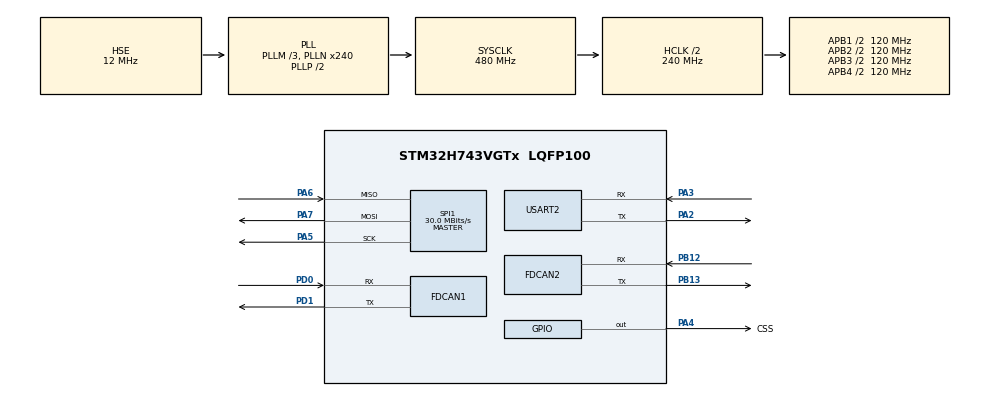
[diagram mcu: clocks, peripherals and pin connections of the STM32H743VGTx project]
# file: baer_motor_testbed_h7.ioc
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FDCAN1.DataPrescaler=8
FDCAN1.DataTimeSeg1=12
FDCAN1.DataTimeSeg2=2
FDCAN1.NominalPrescaler=8
FDCAN1.NominalTimeSeg1=12
FDCAN1.RxFifo0ElmtsNbr=2
FDCAN1.TxFifoQueueElmtsNbr=2
FDCAN2.DataPrescaler=8
FDCAN2.DataTimeSeg1=12
FDCAN2.DataTimeSeg2=2
FDCAN2.MessageRAMOffset=1024
FDCAN2.NominalPrescaler=8
FDCAN2.NominalTimeSeg1=12
FDCAN2.RxFifo0ElmtsNbr=2
FDCAN2.TxFifoQueueElmtsNbr=2
Mcu.Family=STM32H7
Mcu.Name=STM32H743VGTx
Mcu.Package=LQFP100
NVIC.PriorityGroup=NVIC_PRIORITYGROUP_4
NVIC.TIM5_IRQn=true\:0\:0\:false\:false\:true\:true\:true
PA2.Mode=Asynchronous
PA2.Signal=USART2_TX
PA3.Mode=Asynchronous
PA3.Signal=USART2_RX
PA4.GPIO_Label=CSS
PA4.Signal=GPIO_Output
PA5.Mode=Full_Duplex_Master
PA5.Signal=SPI1_SCK
PA6.Mode=Full_Duplex_Master
PA6.Signal=SPI1_MISO
PA7.Mode=Full_Duplex_Master
PA7.Signal=SPI1_MOSI
PB12.Mode=FDCAN_Activate
PB12.Signal=FDCAN2_RX
PB13.Mode=FDCAN_Activate
PB13.Signal=FDCAN2_TX
PD0.Mode=FDCAN_Activate
PD0.Signal=FDCAN1_RX
PD1.Mode=FDCAN_Activate
PD1.Signal=FDCAN1_TX
PH0-OSC_IN\ (PH0).Mode=HSE-External-Oscillator
PH0-OSC_IN\ (PH0).Signal=RCC_OSC_IN
PH1-OSC_OUT\ (PH1).Mode=HSE-External-Oscillator
PH1-OSC_OUT\ (PH1).Signal=RCC_OSC_OUT
ProjectManager.HeapSize=0x200
ProjectManager.StackSize=0x400
ProjectManager.TargetToolchain=STM32CubeIDE
RCC.ADCFreq_Value=24187500
RCC.APB1Freq_Value=120000000
RCC.APB2Freq_Value=120000000
RCC.APB3Freq_Value=120000000
RCC.APB4Freq_Value=120000000
RCC.CortexFreq_Value=480000000
RCC.D1PPRE=RCC_APB3_DIV2
RCC.D2PPRE1=RCC_APB1_DIV2
RCC.D2PPRE2=RCC_APB2_DIV2
RCC.D3PPRE=RCC_APB4_DIV2
RCC.DIVM1=3
RCC.DIVN1=240
RCC.DIVQ1=8
RCC.HCLKFreq_Value=240000000
RCC.HPRE=RCC_HCLK_DIV2
RCC.HSE_VALUE=12000000
RCC.PLLSourceVirtual=RCC_PLLSOURCE_HSE
RCC.SYSCLKFreq_VALUE=480000000
RCC.SYSCLKSource=RCC_SYSCLKSOURCE_PLLCLK
RCC.USBFreq_Value=120000000
SPI1.BaudRatePrescaler=SPI_BAUDRATEPRESCALER_4
SPI1.CLKPhase=SPI_PHASE_2EDGE
SPI1.CLKPolarity=SPI_POLARITY_HIGH
SPI1.CalculateBaudRate=30.0 MBits/s
SPI1.DataSize=SPI_DATASIZE_8BIT
SPI1.Direction=SPI_DIRECTION_2LINES
SPI1.Mode=SPI_MODE_MASTER
SPI1.VirtualType=VM_MASTER
TIM2.Prescaler=239
TIM4.Prescaler=239
TIM5.Period=999
TIM5.Prescaler=239
USART2.VirtualMode-Asynchronous=VM_ASYNC
VP_TIM2_VS_ClockSourceINT.Mode=Internal
VP_TIM4_VS_ClockSourceINT.Mode=Internal
VP_TIM5_VS_ClockSourceINT.Mode=Internal
board=custom

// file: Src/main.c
/* USER CODE BEGIN Header */
/**
  ******************************************************************************
  * @file           : main.c
  * @brief          : Main program body
  ******************************************************************************
  * @attention
  *
  * Copyright (c) 2022 STMicroelectronics.
  * All rights reserved.
  *
  * This software is licensed under terms that can be found in the LICENSE file
  * in the root directory of this software component.
  * If no LICENSE file comes with this software, it is provided AS-IS.
  *
  ******************************************************************************
  */
/* USER CODE END Header */
#include "main.h"

/* USER CODE BEGIN Includes */
#include "../lan9252/lan9252.h"

/* USER CODE END Includes */

/* USER CODE BEGIN PD */
PROCBUFFER_OUT 	BufferOut;
PROCBUFFER_IN 	BufferIn;
/* USER CODE END PD */

FDCAN_HandleTypeDef hfdcan1;
FDCAN_HandleTypeDef hfdcan2;

SPI_HandleTypeDef hspi1;

TIM_HandleTypeDef htim2;
TIM_HandleTypeDef htim4;
TIM_HandleTypeDef htim5;

UART_HandleTypeDef huart2;

/* USER CODE BEGIN PV */
spiCTX ethercat_slave;

// for time
/* USER CODE END PV */

void SystemClock_Config(void);
static void MX_GPIO_Init(void);
static void MX_FDCAN1_Init(void);
static void MX_FDCAN2_Init(void);
static void MX_SPI1_Init(void);
static void MX_TIM2_Init(void);
static void MX_TIM4_Init(void);
static void MX_TIM5_Init(void);
static void MX_USART2_UART_Init(void);
/* USER CODE BEGIN PFP */

void delay_us(uint16_t us)
{
	__HAL_TIM_SET_COUNTER(&htim4, 0);
	while (__HAL_TIM_GET_COUNTER(&htim4) < us);
}

// load which work in velocity mode
FDCAN_TxHeaderTypeDef amber_joint_tx;
FDCAN_RxHeaderTypeDef amber_joint_rx;
uint8_t amber_joint_data[8];
uint8_t amber_joint_rx_data[8];

double load_position_;
double load_velocity_;
double load_current_;

uint32_t load_status_;

void load_power_up(FDCAN_TxHeaderTypeDef* joint_tx, uint8_t* data_buffer)
{
	joint_tx->DataLength = FDCAN_DLC_BYTES_2;
	data_buffer[0] = 0x20;
	data_buffer[1] = 0x01;
}

void load_velocity_mode(FDCAN_TxHeaderTypeDef* joint_tx, uint8_t* data_buffer)
{

	joint_tx->DataLength = FDCAN_DLC_BYTES_2;
	data_buffer[0] = 0x20;
	data_buffer[1] = 0x03;
}

void load_power_off(FDCAN_TxHeaderTypeDef* joint_tx, uint8_t* data_buffer)
{
	joint_tx->DataLength = FDCAN_DLC_BYTES_2;
	data_buffer[0] = 0x20;
	data_buffer[1] = 0x00;
}

union Byte2 {
	int16_t d_data;
	uint8_t buffer[2];
};

void load_pack_velocity_msg(FDCAN_TxHeaderTypeDef* joint_tx, uint8_t* data_buffer, double speed)
{
	joint_tx->DataLength = FDCAN_DLC_BYTES_3;
	data_buffer[0] = 0x41;
	union Byte2 byte_2;

	double velocity_des = speed * 57.2958;

	byte_2.d_data = (int16_t)velocity_des;

	data_buffer[1] = byte_2.buffer[1];
	data_buffer[2] = byte_2.buffer[0];
}

void load_unpack_msg(FDCAN_RxHeaderTypeDef* joint_rx, uint8_t* data_buffer)
{
	int id = joint_rx->Identifier - 0x40;

	if (id == 1)
	{
		int16_t p_int = (data_buffer[1] << 8) | data_buffer[2];
		int16_t v_int = (data_buffer[3] << 8) |  data_buffer[4];
		int16_t i_int =  (data_buffer[5] << 8) |  data_buffer[6];

		load_position_ = (p_int / 128.0f) / 57.2958f;
		load_velocity_ = (v_int * 1.0f) / 57.2958f;
		load_current_ = i_int / 256.0f;

		load_status_ = (data_buffer[7] << 8) | data_buffer[0];
	}

}

/* USER CODE END PFP */

int main(void)
{

  /* MCU Configuration--------------------------------------------------------*/

  /* Reset of all peripherals, Initializes the Flash interface and the Systick. */
  HAL_Init();

  /* Configure the system clock */
  SystemClock_Config();

  /* Initialize all configured peripherals */
  MX_GPIO_Init();
  MX_FDCAN1_Init();
  MX_FDCAN2_Init();
  MX_SPI1_Init();
  MX_TIM2_Init();
  MX_TIM4_Init();
  MX_TIM5_Init();
  MX_USART2_UART_Init();
  /* USER CODE BEGIN 2 */

	HAL_FDCAN_Start(&hfdcan1);
	HAL_FDCAN_Start(&hfdcan2);
	HAL_Delay(10);

	HAL_TIM_Base_Start(&htim2);

	HAL_TIM_Base_Start(&htim4);

	HAL_Delay(10);
	// 1. init lan9252
	ethercat_slave.spi = &hspi1;
	ethercat_slave.uart = &huart2;
	ethercat_slave.bIn = &BufferIn;
	ethercat_slave.bOut = &BufferOut;
	HAL_Delay(10);
	init9252(&ethercat_slave);
	HAL_Delay(10);

	HAL_TIM_Base_Start_IT(&htim5);

	// 2. init load motor var
	amber_joint_tx.Identifier = 0x11;
	amber_joint_tx.IdType = FDCAN_STANDARD_ID;
	amber_joint_tx.TxFrameType = FDCAN_DATA_FRAME;
	amber_joint_tx.DataLength = FDCAN_DLC_BYTES_8;
	amber_joint_tx.ErrorStateIndicator = FDCAN_ESI_ACTIVE;
	amber_joint_tx.BitRateSwitch = FDCAN_BRS_OFF;
	amber_joint_tx.FDFormat = FDCAN_CLASSIC_CAN;
	amber_joint_tx.TxEventFifoControl = FDCAN_NO_TX_EVENTS;
	amber_joint_tx.MessageMarker = 0;

  /* USER CODE END 2 */

  /* Infinite loop */
  while (1)
  {

    /* USER CODE BEGIN 3 */
	  if (HAL_FDCAN_GetRxMessage(&hfdcan2, FDCAN_RX_FIFO0, &amber_joint_rx, amber_joint_rx_data) == HAL_OK)
	  {
		  load_unpack_msg(&amber_joint_rx, amber_joint_rx_data);
	  }
	  delay_us(10);
  }
  /* USER CODE END 3 */
}

void SystemClock_Config(void)
{
  RCC_OscInitTypeDef RCC_OscInitStruct = {0};
  RCC_ClkInitTypeDef RCC_ClkInitStruct = {0};

  /** Supply configuration update enable
  */
  HAL_PWREx_ConfigSupply(PWR_LDO_SUPPLY);
  /** Configure the main internal regulator output voltage
  */
  __HAL_PWR_VOLTAGESCALING_CONFIG(PWR_REGULATOR_VOLTAGE_SCALE0);

  while(!__HAL_PWR_GET_FLAG(PWR_FLAG_VOSRDY)) {}
  /** Initializes the RCC Oscillators according to the specified parameters
  * in the RCC_OscInitTypeDef structure.
  */
  RCC_OscInitStruct.OscillatorType = RCC_OSCILLATORTYPE_HSE;
  RCC_OscInitStruct.HSEState = RCC_HSE_ON;
  RCC_OscInitStruct.PLL.PLLState = RCC_PLL_ON;
  RCC_OscInitStruct.PLL.PLLSource = RCC_PLLSOURCE_HSE;
  RCC_OscInitStruct.PLL.PLLM = 3;
  RCC_OscInitStruct.PLL.PLLN = 240;
  RCC_OscInitStruct.PLL.PLLP = 2;
  RCC_OscInitStruct.PLL.PLLQ = 8;
  RCC_OscInitStruct.PLL.PLLR = 2;
  RCC_OscInitStruct.PLL.PLLRGE = RCC_PLL1VCIRANGE_2;
  RCC_OscInitStruct.PLL.PLLVCOSEL = RCC_PLL1VCOWIDE;
  RCC_OscInitStruct.PLL.PLLFRACN = 0;
  if (HAL_RCC_OscConfig(&RCC_OscInitStruct) != HAL_OK)
  {
    Error_Handler();
  }
  /** Initializes the CPU, AHB and APB buses clocks
  */
  RCC_ClkInitStruct.ClockType = RCC_CLOCKTYPE_HCLK|RCC_CLOCKTYPE_SYSCLK
                              |RCC_CLOCKTYPE_PCLK1|RCC_CLOCKTYPE_PCLK2
                              |RCC_CLOCKTYPE_D3PCLK1|RCC_CLOCKTYPE_D1PCLK1;
  RCC_ClkInitStruct.SYSCLKSource = RCC_SYSCLKSOURCE_PLLCLK;
  RCC_ClkInitStruct.SYSCLKDivider = RCC_SYSCLK_DIV1;
  RCC_ClkInitStruct.AHBCLKDivider = RCC_HCLK_DIV2;
  RCC_ClkInitStruct.APB3CLKDivider = RCC_APB3_DIV2;
  RCC_ClkInitStruct.APB1CLKDivider = RCC_APB1_DIV2;
  RCC_ClkInitStruct.APB2CLKDivider = RCC_APB2_DIV2;
  RCC_ClkInitStruct.APB4CLKDivider = RCC_APB4_DIV2;

  if (HAL_RCC_ClockConfig(&RCC_ClkInitStruct, FLASH_LATENCY_4) != HAL_OK)
  {
    Error_Handler();
  }
}

static void MX_FDCAN1_Init(void)
{

  hfdcan1.Instance = FDCAN1;
  hfdcan1.Init.FrameFormat = FDCAN_FRAME_CLASSIC;
  hfdcan1.Init.Mode = FDCAN_MODE_NORMAL;
  hfdcan1.Init.AutoRetransmission = DISABLE;
  hfdcan1.Init.TransmitPause = DISABLE;
  hfdcan1.Init.ProtocolException = DISABLE;
  hfdcan1.Init.NominalPrescaler = 8;
  hfdcan1.Init.NominalSyncJumpWidth = 1;
  hfdcan1.Init.NominalTimeSeg1 = 12;
  hfdcan1.Init.NominalTimeSeg2 = 2;
  hfdcan1.Init.DataPrescaler = 8;
  hfdcan1.Init.DataSyncJumpWidth = 1;
  hfdcan1.Init.DataTimeSeg1 = 12;
  hfdcan1.Init.DataTimeSeg2 = 2;
  hfdcan1.Init.MessageRAMOffset = 0;
  hfdcan1.Init.StdFiltersNbr = 0;
  hfdcan1.Init.ExtFiltersNbr = 0;
  hfdcan1.Init.RxFifo0ElmtsNbr = 2;
  hfdcan1.Init.RxFifo0ElmtSize = FDCAN_DATA_BYTES_8;
  hfdcan1.Init.RxFifo1ElmtsNbr = 0;
  hfdcan1.Init.RxFifo1ElmtSize = FDCAN_DATA_BYTES_8;
  hfdcan1.Init.RxBuffersNbr = 0;
  hfdcan1.Init.RxBufferSize = FDCAN_DATA_BYTES_8;
  hfdcan1.Init.TxEventsNbr = 0;
  hfdcan1.Init.TxBuffersNbr = 0;
  hfdcan1.Init.TxFifoQueueElmtsNbr = 2;
  hfdcan1.Init.TxFifoQueueMode = FDCAN_TX_FIFO_OPERATION;
  hfdcan1.Init.TxElmtSize = FDCAN_DATA_BYTES_8;
  if (HAL_FDCAN_Init(&hfdcan1) != HAL_OK)
  {
    Error_Handler();
  }

}

static void MX_FDCAN2_Init(void)
{

  hfdcan2.Instance = FDCAN2;
  hfdcan2.Init.FrameFormat = FDCAN_FRAME_CLASSIC;
  hfdcan2.Init.Mode = FDCAN_MODE_NORMAL;
  hfdcan2.Init.AutoRetransmission = DISABLE;
  hfdcan2.Init.TransmitPause = DISABLE;
  hfdcan2.Init.ProtocolException = DISABLE;
  hfdcan2.Init.NominalPrescaler = 8;
  hfdcan2.Init.NominalSyncJumpWidth = 1;
  hfdcan2.Init.NominalTimeSeg1 = 12;
  hfdcan2.Init.NominalTimeSeg2 = 2;
  hfdcan2.Init.DataPrescaler = 8;
  hfdcan2.Init.DataSyncJumpWidth = 1;
  hfdcan2.Init.DataTimeSeg1 = 12;
  hfdcan2.Init.DataTimeSeg2 = 2;
  hfdcan2.Init.MessageRAMOffset = 1024;
  hfdcan2.Init.StdFiltersNbr = 0;
  hfdcan2.Init.ExtFiltersNbr = 0;
  hfdcan2.Init.RxFifo0ElmtsNbr = 2;
  hfdcan2.Init.RxFifo0ElmtSize = FDCAN_DATA_BYTES_8;
  hfdcan2.Init.RxFifo1ElmtsNbr = 0;
  hfdcan2.Init.RxFifo1ElmtSize = FDCAN_DATA_BYTES_8;
  hfdcan2.Init.RxBuffersNbr = 0;
  hfdcan2.Init.RxBufferSize = FDCAN_DATA_BYTES_8;
  hfdcan2.Init.TxEventsNbr = 0;
  hfdcan2.Init.TxBuffersNbr = 0;
  hfdcan2.Init.TxFifoQueueElmtsNbr = 2;
  hfdcan2.Init.TxFifoQueueMode = FDCAN_TX_FIFO_OPERATION;
  hfdcan2.Init.TxElmtSize = FDCAN_DATA_BYTES_8;
  if (HAL_FDCAN_Init(&hfdcan2) != HAL_OK)
  {
    Error_Handler();
  }

}

static void MX_SPI1_Init(void)
{

  /* SPI1 parameter configuration*/
  hspi1.Instance = SPI1;
  hspi1.Init.Mode = SPI_MODE_MASTER;
  hspi1.Init.Direction = SPI_DIRECTION_2LINES;
  hspi1.Init.DataSize = SPI_DATASIZE_8BIT;
  hspi1.Init.CLKPolarity = SPI_POLARITY_HIGH;
  hspi1.Init.CLKPhase = SPI_PHASE_2EDGE;
  hspi1.Init.NSS = SPI_NSS_SOFT;
  hspi1.Init.BaudRatePrescaler = SPI_BAUDRATEPRESCALER_4;
  hspi1.Init.FirstBit = SPI_FIRSTBIT_MSB;
  hspi1.Init.TIMode = SPI_TIMODE_DISABLE;
  hspi1.Init.CRCCalculation = SPI_CRCCALCULATION_DISABLE;
  hspi1.Init.CRCPolynomial = 0x0;
  hspi1.Init.NSSPMode = SPI_NSS_PULSE_ENABLE;
  hspi1.Init.NSSPolarity = SPI_NSS_POLARITY_LOW;
  hspi1.Init.FifoThreshold = SPI_FIFO_THRESHOLD_01DATA;
  hspi1.Init.TxCRCInitializationPattern = SPI_CRC_INITIALIZATION_ALL_ZERO_PATTERN;
  hspi1.Init.RxCRCInitializationPattern = SPI_CRC_INITIALIZATION_ALL_ZERO_PATTERN;
  hspi1.Init.MasterSSIdleness = SPI_MASTER_SS_IDLENESS_00CYCLE;
  hspi1.Init.MasterInterDataIdleness = SPI_MASTER_INTERDATA_IDLENESS_00CYCLE;
  hspi1.Init.MasterReceiverAutoSusp = SPI_MASTER_RX_AUTOSUSP_DISABLE;
  hspi1.Init.MasterKeepIOState = SPI_MASTER_KEEP_IO_STATE_DISABLE;
  hspi1.Init.IOSwap = SPI_IO_SWAP_DISABLE;
  if (HAL_SPI_Init(&hspi1) != HAL_OK)
  {
    Error_Handler();
  }

}

static void MX_TIM2_Init(void)
{

  TIM_ClockConfigTypeDef sClockSourceConfig = {0};
  TIM_MasterConfigTypeDef sMasterConfig = {0};

  htim2.Instance = TIM2;
  htim2.Init.Prescaler = 239;
  htim2.Init.CounterMode = TIM_COUNTERMODE_UP;
  htim2.Init.Period = 4294967295;
  htim2.Init.ClockDivision = TIM_CLOCKDIVISION_DIV1;
  htim2.Init.AutoReloadPreload = TIM_AUTORELOAD_PRELOAD_DISABLE;
  if (HAL_TIM_Base_Init(&htim2) != HAL_OK)
  {
    Error_Handler();
  }
  sClockSourceConfig.ClockSource = TIM_CLOCKSOURCE_INTERNAL;
  if (HAL_TIM_ConfigClockSource(&htim2, &sClockSourceConfig) != HAL_OK)
  {
    Error_Handler();
  }
  sMasterConfig.MasterOutputTrigger = TIM_TRGO_RESET;
  sMasterConfig.MasterSlaveMode = TIM_MASTERSLAVEMODE_DISABLE;
  if (HAL_TIMEx_MasterConfigSynchronization(&htim2, &sMasterConfig) != HAL_OK)
  {
    Error_Handler();
  }

}

static void MX_TIM4_Init(void)
{

  TIM_ClockConfigTypeDef sClockSourceConfig = {0};
  TIM_MasterConfigTypeDef sMasterConfig = {0};

  htim4.Instance = TIM4;
  htim4.Init.Prescaler = 239;
  htim4.Init.CounterMode = TIM_COUNTERMODE_UP;
  htim4.Init.Period = 65535;
  htim4.Init.ClockDivision = TIM_CLOCKDIVISION_DIV1;
  htim4.Init.AutoReloadPreload = TIM_AUTORELOAD_PRELOAD_DISABLE;
  if (HAL_TIM_Base_Init(&htim4) != HAL_OK)
  {
    Error_Handler();
  }
  sClockSourceConfig.ClockSource = TIM_CLOCKSOURCE_INTERNAL;
  if (HAL_TIM_ConfigClockSource(&htim4, &sClockSourceConfig) != HAL_OK)
  {
    Error_Handler();
  }
  sMasterConfig.MasterOutputTrigger = TIM_TRGO_RESET;
  sMasterConfig.MasterSlaveMode = TIM_MASTERSLAVEMODE_DISABLE;
  if (HAL_TIMEx_MasterConfigSynchronization(&htim4, &sMasterConfig) != HAL_OK)
  {
    Error_Handler();
  }

}

static void MX_TIM5_Init(void)
{

  TIM_ClockConfigTypeDef sClockSourceConfig = {0};
  TIM_MasterConfigTypeDef sMasterConfig = {0};

  htim5.Instance = TIM5;
  htim5.Init.Prescaler = 239;
  htim5.Init.CounterMode = TIM_COUNTERMODE_UP;
  htim5.Init.Period = 999;
  htim5.Init.ClockDivision = TIM_CLOCKDIVISION_DIV1;
  htim5.Init.AutoReloadPreload = TIM_AUTORELOAD_PRELOAD_DISABLE;
  if (HAL_TIM_Base_Init(&htim5) != HAL_OK)
  {
    Error_Handler();
  }
  sClockSourceConfig.ClockSource = TIM_CLOCKSOURCE_INTERNAL;
  if (HAL_TIM_ConfigClockSource(&htim5, &sClockSourceConfig) != HAL_OK)
  {
    Error_Handler();
  }
  sMasterConfig.MasterOutputTrigger = TIM_TRGO_RESET;
  sMasterConfig.MasterSlaveMode = TIM_MASTERSLAVEMODE_DISABLE;
  if (HAL_TIMEx_MasterConfigSynchronization(&htim5, &sMasterConfig) != HAL_OK)
  {
    Error_Handler();
  }

}

static void MX_USART2_UART_Init(void)
{

  huart2.Instance = USART2;
  huart2.Init.BaudRate = 115200;
  huart2.Init.WordLength = UART_WORDLENGTH_8B;
  huart2.Init.StopBits = UART_STOPBITS_1;
  huart2.Init.Parity = UART_PARITY_NONE;
  huart2.Init.Mode = UART_MODE_TX_RX;
  huart2.Init.HwFlowCtl = UART_HWCONTROL_NONE;
  huart2.Init.OverSampling = UART_OVERSAMPLING_16;
  huart2.Init.OneBitSampling = UART_ONE_BIT_SAMPLE_DISABLE;
  huart2.Init.ClockPrescaler = UART_PRESCALER_DIV1;
  huart2.AdvancedInit.AdvFeatureInit = UART_ADVFEATURE_NO_INIT;
  if (HAL_UART_Init(&huart2) != HAL_OK)
  {
    Error_Handler();
  }
  if (HAL_UARTEx_SetTxFifoThreshold(&huart2, UART_TXFIFO_THRESHOLD_1_8) != HAL_OK)
  {
    Error_Handler();
  }
  if (HAL_UARTEx_SetRxFifoThreshold(&huart2, UART_RXFIFO_THRESHOLD_1_8) != HAL_OK)
  {
    Error_Handler();
  }
  if (HAL_UARTEx_DisableFifoMode(&huart2) != HAL_OK)
  {
    Error_Handler();
  }

}

static void MX_GPIO_Init(void)
{
  GPIO_InitTypeDef GPIO_InitStruct = {0};

  /* GPIO Ports Clock Enable */
  __HAL_RCC_GPIOH_CLK_ENABLE();
  __HAL_RCC_GPIOA_CLK_ENABLE();
  __HAL_RCC_GPIOB_CLK_ENABLE();
  __HAL_RCC_GPIOD_CLK_ENABLE();

  /*Configure GPIO pin Output Level */
  HAL_GPIO_WritePin(CSS_GPIO_Port, CSS_Pin, GPIO_PIN_RESET);

  /*Configure GPIO pin : CSS_Pin */
  GPIO_InitStruct.Pin = CSS_Pin;
  GPIO_InitStruct.Mode = GPIO_MODE_OUTPUT_PP;
  GPIO_InitStruct.Pull = GPIO_NOPULL;
  GPIO_InitStruct.Speed = GPIO_SPEED_FREQ_LOW;
  HAL_GPIO_Init(CSS_GPIO_Port, &GPIO_InitStruct);

}

/* USER CODE BEGIN 4 */
uint64_t hs_ = 0;
uint32_t can1_error_counter = 0;
uint32_t can2_error_counter = 0;

uint32_t control_word;

int is_load_enable = 0;
int is_motor_enable = 0;

int load_init_state = 0;

int motor_init_state = 0;

void control()
{
	int is_init = 0;
	if ((control_word & 2) == 1 && is_load_enable == 0)
	{
		can2_error_counter = 0;
		load_power_up(&amber_joint_tx, amber_joint_data);
		if (HAL_FDCAN_AddMessageToTxFifoQ(&hfdcan2, &amber_joint_tx, amber_joint_data) != HAL_OK)
		{
			can2_error_counter += 1;
		}
		is_load_enable = 1;
		load_init_state = 1;
		is_init = 1;
	}

	if ((control_word & 1) == 1 && is_motor_enable == 0)
	{
		can1_error_counter = 0;
		/*load_power_up(&amber_joint_tx, amber_joint_data);
		if (HAL_FDCAN_AddMessageToTxFifoQ(&hfdcan2, &amber_joint_tx, amber_joint_data) != HAL_OK)
		{
			can2_error_counter += 1;
		}*/
		is_motor_enable = 1;
		motor_init_state = 1;
		is_init = 1;
	}
	if (is_init)
	{
		is_init = 0;
		return;
	}

	if (control_word == 0 && (is_motor_enable == 1 || is_load_enable == 1))
	{
		if (is_load_enable == 1)
		{
			load_power_off(&amber_joint_tx, amber_joint_data);
			if (HAL_FDCAN_AddMessageToTxFifoQ(&hfdcan2, &amber_joint_tx, amber_joint_data) != HAL_OK)
			{
				can2_error_counter += 1;
			}
		}

	}

	if (load_init_state == 1)
	{
		load_velocity_mode(&amber_joint_tx, amber_joint_data);
		if (HAL_FDCAN_AddMessageToTxFifoQ(&hfdcan2, &amber_joint_tx, amber_joint_data) != HAL_OK)
		{
			can2_error_counter += 1;
		}
		load_init_state = 0;
	}

	if (is_load_enable)
	{
		load_pack_velocity_msg(&amber_joint_tx, amber_joint_data, BufferOut.Cust.load_velocity);
		if (HAL_FDCAN_AddMessageToTxFifoQ(&hfdcan2, &amber_joint_tx, amber_joint_data) != HAL_OK)
		{
			can2_error_counter += 1;
		}
	}

}

void pack_ethercat_data()
{
	BufferIn.Cust.hs = hs_;
	BufferIn.Cust.load_current = hs_;
	BufferIn.Cust.load_velocity = hs_;
	BufferIn.Cust.load_status = hs_;
	BufferIn.Cust.can2_error_counter = hs_;
	BufferIn.Cust.can1_error_counter = hs_;
}

void HAL_TIM_PeriodElapsedCallback(TIM_HandleTypeDef *htim)
{
	if (htim->Instance == TIM5)
	{
		main_task(&ethercat_slave);
		uint64_t tmp_hs_ = BufferOut.Cust.hs;
		hs_ = BufferOut.Cust.hs;
		if (tmp_hs_ > hs_ || tmp_hs_ == 1)
		{
			control_word = BufferOut.Cust.control_word;

			control();

			hs_ = tmp_hs_;

			// pack data
			/*BufferIn.Cust.hs = hs_;
			BufferIn.Cust.load_current = load_current_;
			BufferIn.Cust.load_velocity = load_velocity_;
			BufferIn.Cust.load_status = load_status_;
			BufferIn.Cust.can2_error_counter = can2_error_counter;
			BufferIn.Cust.can1_error_counter = can1_error_counter;*/
			// error check;
			FDCAN_ErrorCountersTypeDef ErrorCounters;
			uint8_t error_counter1;
			uint8_t error_counter2;
			uint8_t error_counter3;
			uint8_t error_counter4;
			HAL_FDCAN_GetErrorCounters(&hfdcan1, &ErrorCounters);
			error_counter1 = (uint8_t)ErrorCounters.RxErrorCnt;
			error_counter2 = (uint8_t)ErrorCounters.TxErrorCnt;
			HAL_FDCAN_GetErrorCounters(&hfdcan2, &ErrorCounters);
			error_counter3 = (uint8_t)ErrorCounters.RxErrorCnt;
			error_counter4 = (uint8_t)ErrorCounters.TxErrorCnt;

			if (hs_ > 100)
			{
				if (error_counter1 > 0 || error_counter2 > 0)
				{
					can1_error_counter += 1;
					HAL_FDCAN_Stop(&hfdcan1);
					HAL_FDCAN_Start(&hfdcan1);

				}
				if (error_counter3 > 0 || error_counter4 > 0)
				{
					can2_error_counter += 1;
					HAL_FDCAN_Stop(&hfdcan2);
					HAL_FDCAN_Start(&hfdcan2);
				}
			}
		}

	}
}

/* USER CODE END 4 */

void Error_Handler(void)
{
  __disable_irq();
  while (1)
  {
  }
}
